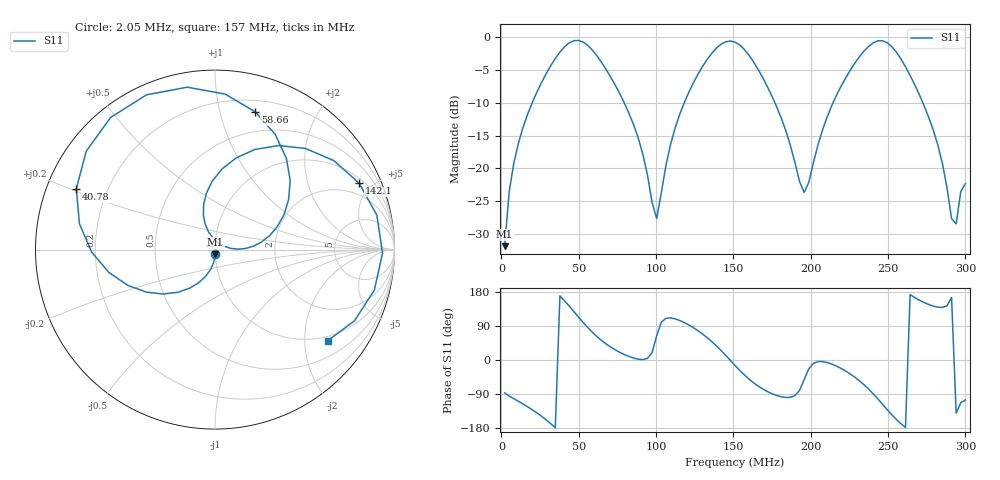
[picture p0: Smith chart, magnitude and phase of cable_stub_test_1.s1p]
# Hz S RI R 50
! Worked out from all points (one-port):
!   101 points, 2.05 MHz to 300 MHz, reference 50 ohm
!   lowest |S11| = -31.8 dB at 2.05 MHz (marker M1), VSWR 1.05, Z = 50.1 - j2.56 ohm
!   |S11| at or under -10 dB: 79.41 MHz to 118.2 MHz (38.8 MHz wide, 39.3 % of centre); 176.8 MHz to 214.4 MHz (37.62 MHz wide, 19.2 % of centre); 272.5 MHz to end of sweep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
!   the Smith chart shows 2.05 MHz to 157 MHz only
!   S11 on the Smith chart (normalised r, x): 2.05 MHz: 1.00, -0.05; 40.78 MHz: 0.09, +0.21; 58.66 MHz: 0.30, +1.29; 142.1 MHz: 1.24, +4.21; 157 MHz: 0.88, -2.56
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2050000  0.00145 -0.0256
5029500  -0.006 -0.0664
1.3968e7  -0.0903 -0.1843
2.88655e7  -0.4851 -0.1996
4.07835e7  -0.7727 0.3389
4.9722e7  -0.3819 0.8621
5.86605e7  0.224 0.7677
6.7599e7  0.4188 0.3858
7.65375e7  0.3474 0.1281
8.84555e7  0.1703 0.00616
1.003735e8  0.0182 0.0373
1.15271e8  -0.0634 0.2498
1.33148e8  0.3538 0.5797
1.420865e8  0.8033 0.37
1.51025e8  0.8879 -0.2254
1.56984e8  0.628 -0.5078
1.718815e8  0.0514 -0.418
1.897585e8  -0.00744 -0.111
1.957175e8  0.0402 -0.0518
2.135945e8  0.2955 -0.0564
2.255125e8  0.4471 -0.3344
2.34451e8  0.3254 -0.7111
2.433895e8  -0.2051 -0.9141
2.52328e8  -0.6867 -0.4987
2.64246e8  -0.5068 0.064
2.82123e8  -0.1151 0.0988
2.910615e8  -0.0401 0.0108
3e8  -0.0207 -0.074
